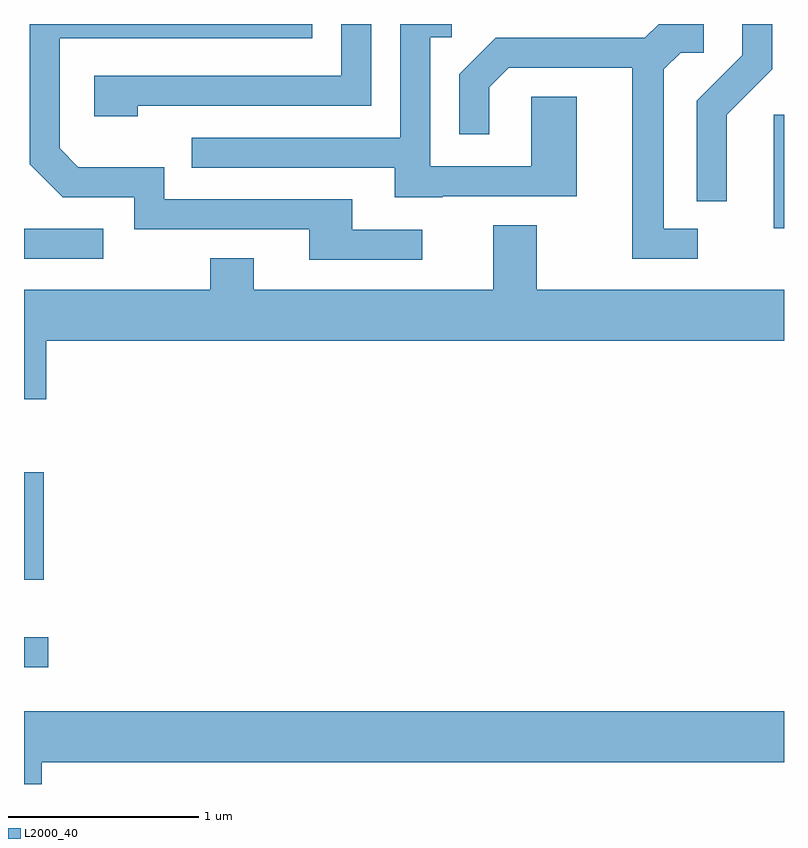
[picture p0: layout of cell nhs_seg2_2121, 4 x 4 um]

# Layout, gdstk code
import gdstk
lib = gdstk.Library(unit=1e-6, precision=1e-09)
def R(c, l, rs):  # rectangles x0, y0, x1, y1
    for r in rs: c.add(gdstk.rectangle(r[:2], r[2:], *l))
def P(c, l, *ps):  # polygons
    for p in ps: c.add(gdstk.Polygon(p, *l))
L2000_40 = (2000, 40)

nhs_seg2_2121 = lib.new_cell('nhs_seg2_2121')
R(nhs_seg2_2121, L2000_40, [(247.611,1004.416,247.738,1004.574), (247.611,1004.876,247.714,1005.444), (247.611,1006.566,248.028,1006.724), (251.556,1006.726,251.611,1007.324)])
P(nhs_seg2_2121, L2000_40, [(249.708,1006.719),(249.339,1006.719),(249.339,1006.879),(248.349,1006.879),(248.349,1007.049),(247.897,1007.049),(247.799,1007.147),(247.799,1007.726),(249.129,1007.726),(249.129,1007.802),(247.641,1007.802),(247.641,1007.064),(247.814,1006.891),(248.191,1006.891),(248.191,1006.721),(249.111,1006.721),(249.111,1006.561),(249.708,1006.561)],
  [(249.815,1006.896),(250.519,1006.896),(250.519,1007.419),(250.281,1007.419),(250.281,1007.054),(249.749,1007.054),(249.749,1007.731),(249.863,1007.731),(249.863,1007.802),(249.591,1007.802),(249.591,1007.204),(248.493,1007.204),(248.493,1007.046),(249.561,1007.046),(249.561,1006.891),(249.815,1006.891)],
  [(251.158,1006.724),(250.979,1006.724),(250.979,1007.564),(251.067,1007.651),(251.188,1007.651),(251.188,1007.802),(250.952,1007.802),(250.879,1007.729),(250.094,1007.729),(249.901,1007.537),(249.901,1007.223),(250.059,1007.223),(250.059,1007.469),(250.162,1007.571),(250.811,1007.571),(250.811,1006.566),(251.158,1006.566)],
  [(248.209,1007.371),(249.439,1007.371),(249.439,1007.802),(249.281,1007.802),(249.281,1007.529),(247.981,1007.529),(247.981,1007.316),(248.209,1007.316)],
  [(251.309,1007.324),(251.549,1007.564),(251.549,1007.802),(251.391,1007.802),(251.391,1007.637),(251.151,1007.397),(251.151,1006.868),(251.309,1006.868)],
  [(247.729,1006.136),(251.611,1006.136),(251.611,1006.404),(250.309,1006.404),(250.309,1006.744),(250.081,1006.744),(250.081,1006.404),(248.819,1006.404),(248.819,1006.569),(248.591,1006.569),(248.591,1006.404),(247.611,1006.404),(247.611,1005.826),(247.729,1005.826)],
  [(247.704,1003.916),(251.611,1003.916),(251.611,1004.184),(247.611,1004.184),(247.611,1003.802),(247.704,1003.802)])

lib.write_gds('nhs_seg2_2121.gds')
